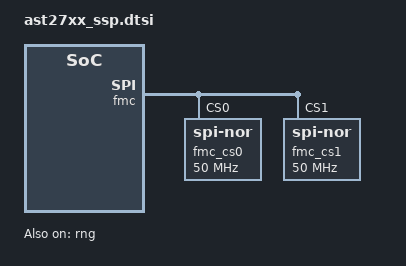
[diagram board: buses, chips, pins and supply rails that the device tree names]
/dts-v1/;
#include "ast27xx.dtsi"

/ {
	aliases {
		cache = &ssp_cache;
		intc = &intc_global;
		intc1 = &intc1_global;
	};

	soc {
		hace: hace@72070000 {
			compatible = "aspeed,hace";
			reg = <0x72070000 0x200 0x72c1F000 0x10>;
			clocks = <&sysclk0 SCU0_CLK_GATE_HACCLK>;
			resets = <&sysrst0 SCU0_RESET_HACE>;
			status = "disabled";
		};

		intc0_11: interrupt-controller@72102b00 {
			compatible = "aspeed,ast2700-intc-ic";
			reg = <0x72102b00 0x10>;
			#address-cells = <1>;
			#interrupt-cells = <2>;
			interrupt-controller;
			interrupt-parent = <&nvic>;
			interrupts = <160 AST10X0_IRQ_DEFAULT_PRIORITY>,
				     <161 AST10X0_IRQ_DEFAULT_PRIORITY>,
				     <162 AST10X0_IRQ_DEFAULT_PRIORITY>,
				     <163 AST10X0_IRQ_DEFAULT_PRIORITY>,
				     <164 AST10X0_IRQ_DEFAULT_PRIORITY>,
				     <165 AST10X0_IRQ_DEFAULT_PRIORITY>;
			status = "disabled";
		};

		intc1_0: interrupt-controller@74c18180 {
			compatible = "aspeed,ast2700-intc-ic";
			reg = <0x74c18180 0x10>;
			#address-cells = <1>;
			#interrupt-cells = <2>;
			interrupt-controller;
			interrupt-parent = <&intc0_11>;
			interrupts = <0 AST10X0_IRQ_DEFAULT_PRIORITY>;
			status = "disabled";
		};

		intc1_1: interrupt-controller@74c18190 {
			compatible = "aspeed,ast2700-intc-ic";
			reg = <0x74c18190 0x10>;
			#address-cells = <1>;
			#interrupt-cells = <2>;
			interrupt-controller;
			interrupt-parent = <&intc0_11>;
			interrupts = <1 AST10X0_IRQ_DEFAULT_PRIORITY>;
			status = "disabled";
		};

		intc1_2: interrupt-controller@74c181a0 {
			compatible = "aspeed,ast2700-intc-ic";
			reg = <0x74c181a0 0x10>;
			#address-cells = <1>;
			#interrupt-cells = <2>;
			interrupt-controller;
			interrupt-parent = <&intc0_11>;
			interrupts = <2 AST10X0_IRQ_DEFAULT_PRIORITY>;
			status = "disabled";
		};

		intc1_3: interrupt-controller@74c181b0 {
			compatible = "aspeed,ast2700-intc-ic";
			reg = <0x74c181b0 0x10>;
			#address-cells = <1>;
			#interrupt-cells = <2>;
			interrupt-controller;
			interrupt-parent = <&intc0_11>;
			interrupts = <3 AST10X0_IRQ_DEFAULT_PRIORITY>;
			status = "disabled";
		};

		intc1_4: interrupt-controller@74c181c0 {
			compatible = "aspeed,ast2700-intc-ic";
			reg = <0x74c181c0 0x10>;
			#address-cells = <1>;
			#interrupt-cells = <2>;
			interrupt-controller;
			interrupt-parent = <&intc0_11>;
			interrupts = <4 AST10X0_IRQ_DEFAULT_PRIORITY>;
			status = "disabled";
		};

		intc1_5: interrupt-controller@74c181d0 {
			compatible = "aspeed,ast2700-intc-ic";
			reg = <0x74c181d0 0x10>;
			#address-cells = <1>;
			#interrupt-cells = <2>;
			interrupt-controller;
			interrupt-parent = <&intc0_11>;
			interrupts = <5 AST10X0_IRQ_DEFAULT_PRIORITY>;
			status = "disabled";
		};

		fmc: spi@74000000 {
			compatible = "aspeed,ast2700-spi-controller";
			reg = <0x74000000 0x300>, <0x20000000 0x10000000>;
			reg-names = "ctrl_reg", "spi_mmap";
			interrupt-parent = <&intc1_3>;
			interrupts = <25 1>;
			clocks = <&sysclk1 SCU1_CLK_AHB>;
			pinctrl-0 = <pinctrl_fwspi_quad_default>;
			pinctrl-names = "default";
			num-cs = <2>;
			ctrl-type = "bspi";
			#address-cells = <1>;
			#size-cells = <0>;
			spi-ctrl-caps-mask = <0x000e0e0c>;
			spi-ctrl-fifo-enabled;
			status = "disabled";
		};

		spim0: spim_common@74000400 {
			compatible = "aspeed,spi-monitor-controller";
			reg = <0x74000400 0x1000>;
			aspeed,scu = <&syscon1>;
			#address-cells = <1>;
			#size-cells = <0>;
			status = "disabled";

			spim1: spim@1 {
				interrupt-parent = <&intc1_4>;
				interrupts = <23 1>;
				reg = <1>;
				status = "disabled";
			};
		};
	};
};

&ssp_cache {
	status = "okay";
};

&intc_global {
	irq-route-select = "ssp";
};

&intc1_global {
	irq-route-select = "ssp";
};

&ipc0 {
	ipc0_s_ca35: ipc0@0 {
		compatible = "aspeed,ast2700-ipc";
		reg = <0x0 0x200>;
		reg-tx-offset = <0x100>;
		reg-rx-offset = <0>;
		interrupts = <100 1>;
		status = "disabled";
	};

	ipc0_ns_ca35: ipc0@200 {
		compatible = "aspeed,ast2700-ipc";
		reg = <0x200 0x200>;
		reg-tx-offset = <0x100>;
		reg-rx-offset = <0>;
		interrupts = <102 1>;
		status = "disabled";
	};

	ipc0_tsp: ipc0@800 {
		compatible = "aspeed,ast2700-ipc";
		reg = <0x800 0x200>;
		reg-tx-offset = <0x0>;
		reg-rx-offset = <0x100>;
		interrupts = <109 1>;
		status = "disabled";
	};
};

&ipc1 {
	ipc1_bootmcu: ipc1@400 {
		compatible = "aspeed,ast2700-ipc";
		reg = <0x400 0x200>;
		reg-tx-offset = <0x0>;
		reg-rx-offset = <0x100>;
		interrupt-parent = <&intc1_5>;
		interrupts = <19 1>;
		status = "disabled";
	};
};

&rng {
	status = "okay";
};

&fmc {
	status = "okay";

	fmc_cs0: fmc@0 {
		compatible = "jedec,spi-nor";
		reg = <0>;
		spi-max-buswidth = <4>;
		spi-max-frequency = <50000000>;
		jedec-id = [];
		status = "okay";
	};

	fmc_cs1: fmc@1 {
		compatible = "jedec,spi-nor";
		reg = <1>;
		spi-max-buswidth = <4>;
		spi-max-frequency = <50000000>;
		jedec-id = [];
		status = "okay";
	};
};
